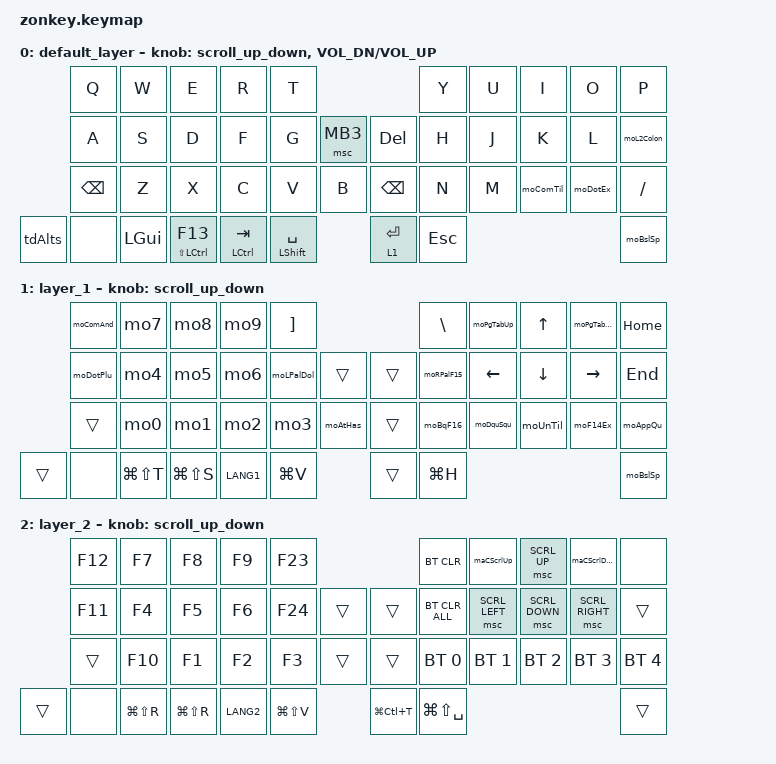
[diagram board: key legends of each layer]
#include <behaviors.dtsi>
#include <dt-bindings/zmk/bt.h>
#include <dt-bindings/zmk/keys.h>
#include <dt-bindings/zmk/pointing.h>

#define ZMK_POINTING_DEFAULT_SCRL_VAL 100
#define JP_DQUOTE       AT                // "
#define JP_AMPERSAND    CARET             // &
#define JP_QUOTE        AMPERSAND         // '
#define JP_EQUAL        UNDER             // =
#define JP_CARET        EQUAL             // ^
#define JP_YEN          0x89              // ¥
#define JP_PLUS         COLON             // +
#define JP_TILDE        PLUS              // ~
#define JP_PIPE         LS(0x89)          // |
#define JP_AT           LEFT_BRACKET      // @
#define JP_COLON        SINGLE_QUOTE      // :
#define JP_ASTERISK     DOUBLE_QUOTES     // *
#define JP_BACKQUOTE    LEFT_BRACE        // `
#define JP_UNSCO   LS(0x87)          // _
#define JP_LBRACKET     RIGHT_BRACKET     // [
#define JP_RBRACKET     BACKSLASH         // ]
#define JP_LPAREN       ASTERISK          // (
#define JP_RPAREN       LEFT_PARENTHESIS  // )
#define JP_LBRACE       RIGHT_BRACE       // {
#define JP_RBRACE       PIPE              // }
#define JP_KANA         LANGUAGE_1        // かな
#define JP_EISU         LANGUAGE_2        // 英数
#define JP_HANZEN       GRAVE             // 半角/全角
#define JP_BSLH  INT1                     // (backslash)

// new define
#define JP_EXCL  LS(N1)            // !
#define JP_QUESTION     LS(SLASH)         // ?
#define JP_HASH         LS(N3)            // #
#define JP_DOLLAR       LS(N4)            // $
#define JP_PERCENT      LS(N5)            // %


&mt {
    flavor = "hold-preferred";
    quick-tap-ms = <0>;
};

/ {
    macros {
        maCScrlUp: macro_ctrl_scroll_up {
            compatible = "zmk,behavior-macro";
            #binding-cells = <0>;
            bindings
                = <&macro_press &kp LCTRL>
                , <&macro_tap &msc SCRL_UP >
                , <&macro_release &kp LCTRL>
                ;
        };

        maCScrlDown: macro_ctrl_scroll_down {
            compatible = "zmk,behavior-macro";
            #binding-cells = <0>;
            bindings
                = <&macro_press &kp LCTRL>
                , <&macro_tap &msc SCRL_DOWN >
                , <&macro_release &kp LCTRL>
                ;
        };

        maSendCal: macro_send_cal {
            compatible = "zmk,behavior-macro";
            #binding-cells = <0>;
            bindings
                = <&macro_tap &kp JP_BACKQUOTE &kp C &kp A &kp L>
                ;
        };
    };
    behaviors {
        combos {
            compatible = "zmk,combos";

            //Left row1
            coEsc {
                bindings = <&kp ESC>;
                key-positions = <1 2>;
                layers = <0>;
            };

            coEnter {
                bindings = <&kp ENTER>;
                key-positions = <2 3>;
                layers = <0>;
            };

            coLang1 {
                bindings = <&kp LANG1>;
                key-positions = <1 3>;
                layers = <0>;
            };

            //Left row2
            coBs {
                bindings = <&kp BACKSPACE>;
                key-positions = <11 12>;
                layers = <0>;
            };

            coDel {
                bindings = <&kp DELETE>;
                key-positions = <12 13>;
                layers = <0>;
            };

            coGrave {
                bindings = <&kp GRAVE>;
                key-positions = <11 13>;
                layers = <0>;
            };

            //Left row3
            coLang2 {
                bindings = <&kp LANG2>;
                key-positions = <24 26>;
                layers = <0>;
            };

            //Right row1
            coPageUp {
                bindings = <&kp PAGE_UP>;
                key-positions = <6 7>;
                layers = <0>;
            };

            coPageDown {
                bindings = <&kp PAGE_DOWN>;
                key-positions = <7 8>;
                layers = <0>;
            };

            //Right row2
            coMB1 {
                bindings = <&mkp MB1>;
                key-positions = <18 19>;
                layers = <0>;
            };

            coMB2 {
                bindings = <&mkp MB2>;
                key-positions = <19 20>;
                layers = <0>;
            };

            coMB3 {
                bindings = <&mkp MB3>;
                key-positions = <18 20>;
                layers = <0>;
            };

            //Right row3
            coMB4 {
                bindings = <&mkp MB4>;
                key-positions = <30 31>;
                layers = <0>;
            };

            coMB5 {
                bindings = <&mkp MB5>;
                key-positions = <31 32>;
                layers = <0>;
            };
        };

        mo0: mo0 {
            compatible = "zmk,behavior-mod-morph";
            #binding-cells = <0>;
            bindings = <&kp N0>, <&maSendCal>;

            mods = <(MOD_LSFT|MOD_RSFT)>;
        };

        mo1: mo1 {
            compatible = "zmk,behavior-mod-morph";
            #binding-cells = <0>;
            bindings = <&kp N1>, <&kp LT>;

            mods = <(MOD_LSFT|MOD_RSFT)>;
        };

        mo2: mo2 {
            compatible = "zmk,behavior-mod-morph";
            #binding-cells = <0>;
            bindings = <&kp N2>, <&kp GT>;

            mods = <(MOD_LSFT|MOD_RSFT)>;
        };

        mo3: mo3 {
            compatible = "zmk,behavior-mod-morph";
            #binding-cells = <0>;
            bindings = <&kp N3>, <&kp JP_EQUAL>;

            mods = <(MOD_LSFT|MOD_RSFT)>;
        };

        moDotPlu: moDotPlu {
            compatible = "zmk,behavior-mod-morph";
            #binding-cells = <0>;
            bindings = <&kp KP_DOT>, <&kp KP_PLUS>;

            mods = <(MOD_LSFT|MOD_RSFT)>;
        };

        mo4: mo4 {
            compatible = "zmk,behavior-mod-morph";
            #binding-cells = <0>;
            bindings = <&kp N4>, <&kp KP_MINUS>;

            mods = <(MOD_LSFT|MOD_RSFT)>;
        };

        mo5: mo5 {
            compatible = "zmk,behavior-mod-morph";
            #binding-cells = <0>;
            bindings = <&kp N5>, <&kp KP_MULTIPLY>;

            mods = <(MOD_LSFT|MOD_RSFT)>;
        };

        mo6: mo6 {
            compatible = "zmk,behavior-mod-morph";
            #binding-cells = <0>;
            bindings = <&kp N6>, <&kp KP_SLASH>;

            mods = <(MOD_LSFT|MOD_RSFT)>;
        };

        moComAnd: moComAnd {
            compatible = "zmk,behavior-mod-morph";
            #binding-cells = <0>;
            bindings = <&kp COMMA>, <&kp JP_AMPERSAND>;

            mods = <(MOD_LSFT|MOD_RSFT)>;
        };

        mo7: mo7 {
            compatible = "zmk,behavior-mod-morph";
            #binding-cells = <0>;
            bindings = <&kp N7>, <&kp JP_PIPE>;

            mods = <(MOD_LSFT|MOD_RSFT)>;
        };

        mo8: mo8 {
            compatible = "zmk,behavior-mod-morph";
            #binding-cells = <0>;
            bindings = <&kp N8>, <&kp JP_CARET>;

            mods = <(MOD_LSFT|MOD_RSFT)>;
        };

        mo9: mo9 {
            compatible = "zmk,behavior-mod-morph";
            #binding-cells = <0>;
            bindings = <&kp N9>, <&kp JP_PERCENT>;

            mods = <(MOD_LSFT|MOD_RSFT)>;
        };

        moA: moA {
            compatible = "zmk,behavior-mod-morph";
            #binding-cells = <0>;
            bindings = <&kp MINUS>, <&kp UNDERSCORE>;

            mods = <(MOD_LSFT|MOD_RSFT)>;
        };

        moB: moB {
            compatible = "zmk,behavior-mod-morph";
            #binding-cells = <0>;
            bindings = <&kp EQUAL>, <&kp PLUS>;

            mods = <(MOD_LSFT|MOD_RSFT)>;
        };

        moC: moC {
            compatible = "zmk,behavior-mod-morph";
            #binding-cells = <0>;
            bindings = <&kp INT3>, <&kp JP_PIPE>;

            mods = <(MOD_LSFT|MOD_RSFT)>;
        };

        moD: moD {
            compatible = "zmk,behavior-mod-morph";
            #binding-cells = <0>;
            bindings = <&kp LBKT>, <&kp LBRC>;

            mods = <(MOD_LSFT|MOD_RSFT)>;
        };

        moE: moE {
            compatible = "zmk,behavior-mod-morph";
            #binding-cells = <0>;
            bindings = <&kp RBKT>, <&kp RBRC>;

            mods = <(MOD_LSFT|MOD_RSFT)>;
        };

        moF: moF {
            compatible = "zmk,behavior-mod-morph";
            #binding-cells = <0>;
            bindings = <&kp SEMI>, <&kp KP_PLUS>;

            mods = <(MOD_LSFT|MOD_RSFT)>;
        };

        moG: moG {
            compatible = "zmk,behavior-mod-morph";
            #binding-cells = <0>;
            bindings = <&kp APOSTROPHE>, <&kp DQT>;

            mods = <(MOD_LSFT|MOD_RSFT)>;
        };

        moH: moH {
            compatible = "zmk,behavior-mod-morph";
            #binding-cells = <0>;
            bindings = <&kp BACKSLASH>, <&kp TILDE2>;

            mods = <(MOD_LSFT|MOD_RSFT)>;
        };

        moI: moI {
            compatible = "zmk,behavior-mod-morph";
            #binding-cells = <0>;
            bindings = <&kp JP_BSLH>, <&kp JP_UNSCO>;

            mods = <(MOD_LSFT|MOD_RSFT)>;
        };

        macros {
            to_layer_0: to_layer_0 {
                compatible = "zmk,behavior-macro-one-param";
                #binding-cells = <1>;
                bindings = <&to 0 &macro_param_1to1 &kp MACRO_PLACEHOLDER>;
                label = "TO_LAYER_0";
            };
        };

        lt_to_layer_0: lt_to_layer_0 {
            compatible = "zmk,behavior-hold-tap";
            label = "LAYER_TAP_TO_0";
            bindings = <&mo>, <&to_layer_0>;

            #binding-cells = <2>;
            tapping-term-ms = <200>;
        };

        scroll_up_down: behavior_sensor_rotate_mouse_wheel_up_down {
            compatible = "zmk,behavior-sensor-rotate";
            #sensor-binding-cells = <0>;
            bindings = <&msc SCRL_DOWN>, <&msc SCRL_UP>;

            tap-ms = <20>;
        };

        // new behavior
        moL2Colon: moL2Colon {
            compatible = "zmk,behavior-mod-morph";
            #binding-cells = <0>;
            bindings = <&lt 2 JP_COLON>, <&kp SEMI>;
            mods = <(MOD_LSFT|MOD_RSFT)>;
        };

        moComTil: moComTil {
            compatible = "zmk,behavior-mod-morph";
            #binding-cells = <0>;
            bindings = <&kp COMMA>, <&kp JP_TILDE>;
            mods = <(MOD_LSFT|MOD_RSFT)>;
        };

        moDotEx: moDotEx {
            compatible = "zmk,behavior-mod-morph";
            #binding-cells = <0>;
            bindings = <&kp DOT>, <&kp JP_EXCL>;
            mods = <(MOD_LSFT|MOD_RSFT)>;
        };

        moPgTabUp: moPgTabUp {
            compatible = "zmk,behavior-mod-morph";
            #binding-cells = <0>;
            bindings = <&kp PAGE_UP>, <&kp LC(TAB)>;
            mods = <(MOD_LSFT|MOD_RSFT)>;
        };

        moPgTabDown: moPgTabDown {
            compatible = "zmk,behavior-mod-morph";
            #binding-cells = <0>;
            bindings = <&kp PAGE_DOWN>, <&kp LC(LS(TAB))>;
            mods = <(MOD_LSFT|MOD_RSFT)>;
        };

        moLPalDol: moLPalDol {
            compatible = "zmk,behavior-mod-morph";
            #binding-cells = <0>;
            bindings = <&kp JP_LPAREN>, <&kp JP_DOLLAR>;
            mods = <(MOD_LCTL|MOD_RCTL)>;
        };

        moRPalF15: moRPalF15 {
            compatible = "zmk,behavior-mod-morph";
            #binding-cells = <0>;
            bindings = <&kp JP_RPAREN>, <&kp F15>;
            mods = <(MOD_LCTL|MOD_RCTL)>;
        };

        moAtHas: moAtHas {
            compatible = "zmk,behavior-mod-morph";
            #binding-cells = <0>;
            bindings = <&kp JP_AT>, <&kp JP_HASH>;
            mods = <(MOD_LCTL|MOD_RCTL)>;
        };

        moBqF16: moBqF16 {
            compatible = "zmk,behavior-mod-morph";
            #binding-cells = <0>;
            bindings = <&kp JP_BACKQUOTE>, <&kp F16>;
            mods = <(MOD_LCTL|MOD_RCTL)>;
        };

        moDquSqu: moDquSqu {
            compatible = "zmk,behavior-mod-morph";
            #binding-cells = <0>;
            bindings = <&kp DOUBLE_QUOTES>, <&kp SINGLE_QUOTE>;
            mods = <(MOD_LCTL|MOD_RCTL)>;
        };

        moUnTil: moUnTil {
            compatible = "zmk,behavior-mod-morph";
            #binding-cells = <0>;
            bindings = <&kp JP_UNSCO>, <&kp JP_TILDE>;
            mods = <(MOD_LCTL|MOD_RCTL)>;
        };

        moF14Ex: moF14Ex {
            compatible = "zmk,behavior-mod-morph";
            #binding-cells = <0>;
            bindings = <&kp F14>, <&kp JP_EXCL>;
            mods = <(MOD_LCTL|MOD_RCTL)>;
        };

        moAppQu: moAppQu {
            compatible = "zmk,behavior-mod-morph";
            #binding-cells = <0>;
            bindings = <&kp K_APP>, <&kp JP_QUESTION>;
            mods = <(MOD_LCTL|MOD_RCTL)>;
        };

        moBslSp: moBslSp {
            compatible = "zmk,behavior-mod-morph";
            #binding-cells = <0>;
            bindings = <&kp JP_BSLH>, <&kp LS(SPACE)>;
            mods = <(MOD_LCTL|MOD_RCTL)>;
        };

        tdAlts: tap_alts {
            compatible = "zmk,behavior-tap-dance";
            #binding-cells = <0>;
            tapping-term-ms = <500>;
            bindings = <&kp LALT>, <&kp LS(LALT)>, <&kp LC(LALT)>;
        };

         keymap {
            compatible = "zmk,keymap";

            default_layer {
                bindings = <
                                      &kp Q  &kp W     &kp E              &kp R          &kp T                                      &kp Y      &kp U  &kp I      &kp O     &kp P
                                      &kp A  &kp S     &kp D              &kp F          &kp G               &msc MB3  &kp DELETE   &kp H      &kp J  &kp K      &kp L     &moL2Colon
                            &kp BSPC  &kp Z  &kp X     &kp C              &kp V          &kp B                         &kp BSPC     &kp N      &kp M  &moComTil  &moDotEx  &kp SLASH
                            &tdAlts   &none  &kp LGUI  &mt LS(LCTRL) F13  &mt LCTRL TAB  &mt LSHIFT SPACE              &lt 1 ENTER  &kp ESC                                &moBslSp
                >;
                sensor-bindings =
                    <&scroll_up_down>,
                    <&inc_dec_kp C_VOL_DN C_VOL_UP>;
            };

            layer_1 {
                bindings = <
                                    &moComAnd  &mo7           &mo8           &mo9       &kp JP_LBRACKET                    &kp JP_RBRACKET  &moPgTabUp  &kp UP    &moPgTabDown  &kp HOME
                                    &moDotPlu  &mo4           &mo5           &mo6       &moLPalDol       &trans    &trans  &moRPalF15       &kp LEFT    &kp DOWN  &kp RIGHT     &kp END
                            &trans  &mo0       &mo1           &mo2           &mo3       &moAtHas                   &trans  &moBqF16         &moDquSqu   &moUnTil  &moF14Ex      &moAppQu
                            &trans  &none      &kp LG(LS(T))  &kp LG(LS(S))  &kp LANG1  &kp LG(V)                  &trans  &kp LG(H)                                            &moBslSp
                >;
                sensor-bindings = <&scroll_up_down>;
            };

            layer_2 {
                bindings = <
                                    &kp F12  &kp F7         &kp F8         &kp F9     &kp F23                                 &bt BT_CLR         &maCScrlUp      &msc SCRL_UP    &maCScrlDown     &none
                                    &kp F11  &kp F4         &kp F5         &kp F6     &kp F24        &trans    &trans         &bt BT_CLR_ALL     &msc SCRL_LEFT  &msc SCRL_DOWN  &msc SCRL_RIGHT  &trans
                            &trans  &kp F10  &kp F1         &kp F2         &kp F3     &trans                   &trans         &bt BT_SEL 0       &bt BT_SEL 1    &bt BT_SEL 2    &bt BT_SEL 3     &bt BT_SEL 4
                            &trans  &none    &kp LG(LS(R))  &kp LG(LS(R))  &kp LANG2  &kp LG(LS(V))            &kp LG(LC(T))  &kp LG(LS(SPACE))                                                   &trans
                >;
                sensor-bindings = <&scroll_up_down>;
            };
        };
    };
};
